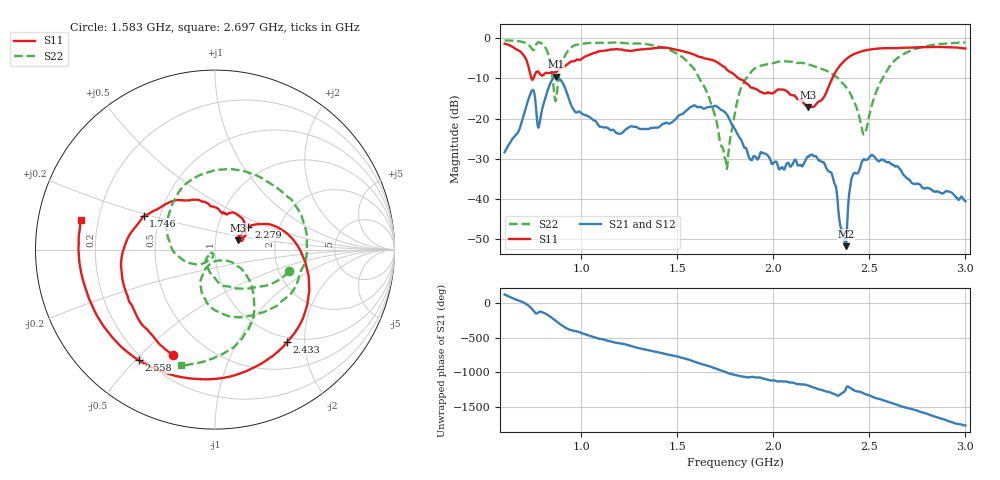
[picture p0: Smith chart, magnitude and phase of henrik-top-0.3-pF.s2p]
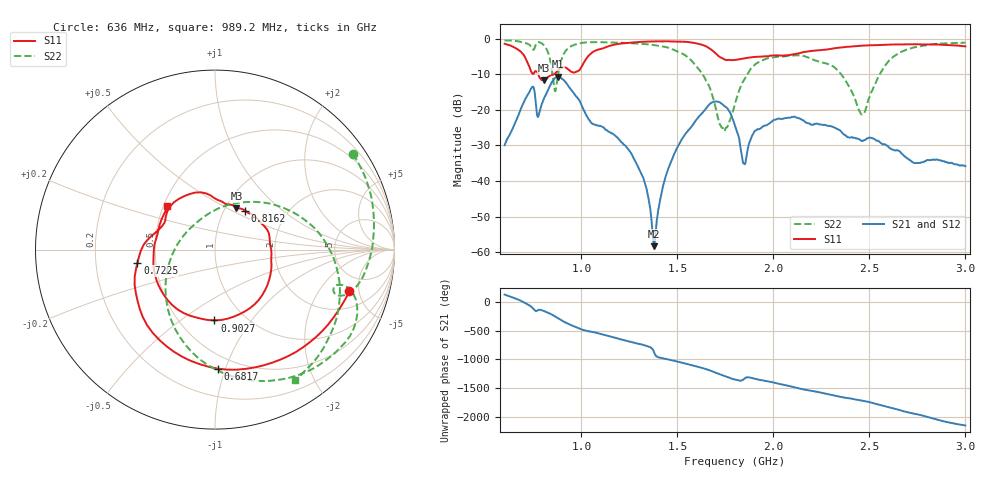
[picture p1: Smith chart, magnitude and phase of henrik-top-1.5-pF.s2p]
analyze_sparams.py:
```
from numpy import *
from matplotlib.pyplot import *
import aauplot

vnadir = "sparams/"
top = ["henrik-top-0.3-pF.s2p",
        "henrik-top-0.7-pF.s2p",
        "henrik-top-1.1-pF.s2p",
        "henrik-top-1.5-pF.s2p",
        "henrik-top-2.0-pF.s2p",
        "henrik-top-2.7-pF.s2p",
        "henrik-top-3.0-pF.s2p",
        ]

side = ["henrik-top-0.3-pF.s2p",
        "henrik-top-0.7-pF.s2p",
        "henrik-top-1.1-pF.s2p",
        "henrik-top-1.5-pF.s2p",
        "henrik-top-2.0-pF.s2p",
        "henrik-top-2.7-pF.s2p",
        "henrik-top-3.0-pF.s2p",
        ]

#S11
aauplot.figure()
for s in top:
    m = loadtxt(vnadir + s, skiprows=5).T
    f = m[0]
    S11 = m[1] + 1j*m[2]
    S21 = m[3] + 1j*m[4]
    S12 = m[5] + 1j*m[6]
    S22 = m[7] + 1j*m[8]

    aauplot.sparam(f, 20*log10(abs(S11)))

aauplot.end_sparam()
savefig("s11_csh1.pdf")

#S21
aauplot.figure()
for s in top:
    m = loadtxt(vnadir + s, skiprows=5).T
    f = m[0]
    S11 = m[1] + 1j*m[2]
    S21 = m[3] + 1j*m[4]
    S12 = m[5] + 1j*m[6]
    S22 = m[7] + 1j*m[8]

    aauplot.sparam(f, 20*log10(abs(S21)))

aauplot.end_sparam()
savefig("s21_csh1.pdf")

#S12
aauplot.figure()
for s in side:
    m = loadtxt(vnadir + s, skiprows=5).T
    f = m[0]
    S11 = m[1] + 1j*m[2]
    S21 = m[3] + 1j*m[4]
    S12 = m[5] + 1j*m[6]
    S22 = m[7] + 1j*m[8]

    aauplot.sparam(f, 20*log10(abs(S12)))

aauplot.end_sparam()
savefig("s12_csh1.pdf")

#S22
aauplot.figure()
for s in side:
    m = loadtxt(vnadir + s, skiprows=5).T
    f = m[0]
    S11 = m[1] + 1j*m[2]
    S21 = m[3] + 1j*m[4]
    S12 = m[5] + 1j*m[6]
    S22 = m[7] + 1j*m[8]

    aauplot.sparam(f, 20*log10(abs(S22)))

aauplot.end_sparam()
savefig("s22_csh1.pdf")
show()
```
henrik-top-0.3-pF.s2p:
#  HZ  S  RI  R  50.00
! Rohde & Schwarz ZVB8 2Ports - Version 2.81 - 1145.1010k08 SN: 100113
! Date: 2016-04-20 02:16:05
! Measurements: S11 S21 S12 S22
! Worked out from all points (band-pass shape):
!   1000 points, 600 MHz to 3 GHz, reference 50 ohm
!   highest |S21| = -9.55 dB at 866.7 MHz (marker M1); lowest = -51.7 dB at 2.378 GHz (marker M2)
!   |S21| within 3 dB of the highest: 827.2 MHz to 916.2 MHz (89.04 MHz wide, 10.2 % of centre)
!   lowest |S11| = -17.2 dB at 2.178 GHz (marker M3), VSWR 1.32, Z = 64.4 + j6.69 ohm
!   |S11| at or under -10 dB: 740.1 MHz to 750.2 MHz (10.15 MHz wide, 1.36 % of centre); 1.821 GHz to 2.306 GHz (485.7 MHz wide, 23.5 % of centre)
!   |S22| runs from -32.5 to -0.5 dB; largest |S21 - S12| = 0.0032
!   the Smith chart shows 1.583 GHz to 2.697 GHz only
!   S11 on the Smith chart (normalised r, x): 1.583 GHz: 0.32, -0.63; 1.746 GHz: 0.41, +0.19; 2.279 GHz: 1.40, +0.37; 2.433 GHz: 0.92, -1.65; 2.558 GHz: 0.18, -0.51; 2.697 GHz: 0.14, +0.11
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6e8  0.7549 0.4046  -0.0205 0.0325  -0.0205 0.0325  0.5484 0.7621
8.666667e8  0.2435 -0.2911  -0.0569 0.3283  -0.0565 0.3282  -0.089 0.1408
1.582583e9  -0.2365 -0.5852  -0.0822 -0.1201  -0.0821 -0.12  0.4106 -0.1207
1.745946e9  -0.3974 0.1862  0.0125 0.1203  0.0126 0.1202  -0.0276 -0.0171
1.801201e9  -0.2084 0.2761  0.0598 0.0428  0.0597 0.0428  -0.0945 -0.0834
2.178378e9  0.1292 0.0509  -0.0135 -0.0311  -0.0135 -0.031  0.3774 -0.2825
2.279279e9  0.1862 0.1256  -0.0215 0.00932  -0.0216 0.00935  0.1119 -0.3754
2.377778e9  0.5225 -0.1574  -0.00249 -0.00078  -0.00249 -0.000872  -0.0738 -0.2365
2.433033e9  0.4011 -0.5163  -0.0197 0.007  -0.0197 0.00696  -0.0625 -0.1228
2.557958e9  -0.4254 -0.6158  0.0212 0.022  0.0213 0.022  0.2042 -0.2012
2.697297e9  -0.746 0.1624  0.00313 -0.0178  0.00313 -0.0177  -0.191 -0.6447
3e9  0.6011 0.4415  0.0085 0.00419  0.00851 0.0042  -0.5803 0.6682
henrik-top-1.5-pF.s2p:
#  HZ  S  RI  R  50.00
! Rohde & Schwarz ZVB8 2Ports - Version 2.81 - 1145.1010k08 SN: 100113
! Date: 2016-04-20 02:48:30
! Measurements: S11 S21 S12 S22
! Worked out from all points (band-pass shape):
!   1000 points, 600 MHz to 3 GHz, reference 50 ohm
!   highest |S21| = -10.71 dB at 876.3 MHz (marker M1); lowest = -58.3 dB at 1.378 GHz (marker M2)
!   |S21| within 3 dB of the highest: 742.3 MHz to 750.4 MHz (8.036 MHz wide, 1.08 % of centre); 832.1 MHz to 936.4 MHz (104.3 MHz wide, 11.8 % of centre)
!   lowest |S11| = -11.7 dB at 806.6 MHz (marker M3), VSWR 1.70, Z = 56.3 + j27.8 ohm
!   |S11| at or under -10 dB: 775.4 MHz to 858.8 MHz (83.35 MHz wide, 10.2 % of centre)
!   |S22| runs from -26.0 to -0.5 dB; largest |S21 - S12| = 0.0031
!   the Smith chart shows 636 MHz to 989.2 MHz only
!   S11 on the Smith chart (normalised r, x): 636 MHz: 3.29, -3.98; 681.7 MHz: 0.40, -0.94; 722.5 MHz: 0.39, -0.07; 816.2 MHz: 1.25, +0.59; 902.7 MHz: 0.73, -0.68; 989.2 MHz: 0.52, +0.29
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6e8  0.7494 0.389  -0.0189 0.0255  -0.0189 0.0254  0.5649 0.7511
6.36036e8  0.7493 -0.2322  0.00614 0.05  0.00619 0.05  0.7682 0.5316
6.816817e8  0.0164 -0.6635  0.0907 0.0392  0.0906 0.0393  0.885 0.1712
7.225225e8  -0.4323 -0.0736  0.1065 -0.1277  0.1062 -0.1279  0.8239 -0.1523
8.066066e8  0.1193 0.2303  -0.1404 -0.0467  -0.1406 -0.0467  0.3125 -0.7304
8.162162e8  0.1676 0.2174  -0.1657 -0.0176  -0.1659 -0.0175  0.1335 -0.7167
8.762763e8  0.2894 -0.2038  0.0661 0.2839  0.066 0.2836  0.1202 0.2589
9.027027e8  -0.00307 -0.3944  0.2407 0.116  0.2408 0.1163  0.5529 0.1214
9.891892e8  -0.2662 0.2414  -0.0321 -0.1317  -0.0323 -0.1315  0.447 -0.7271
1.378378e9  -0.7967 -0.4435  -0.00108 -0.000552  -0.00102 -0.000497  -0.212 0.7796
1.801201e9  0.3952 0.3075  0.00149 0.0583  0.00148 0.0583  -0.1162 -0.0463
3e9  0.7764 -0.0148  0.0157 0.00354  0.0157 0.00363  -0.5387 0.6918
